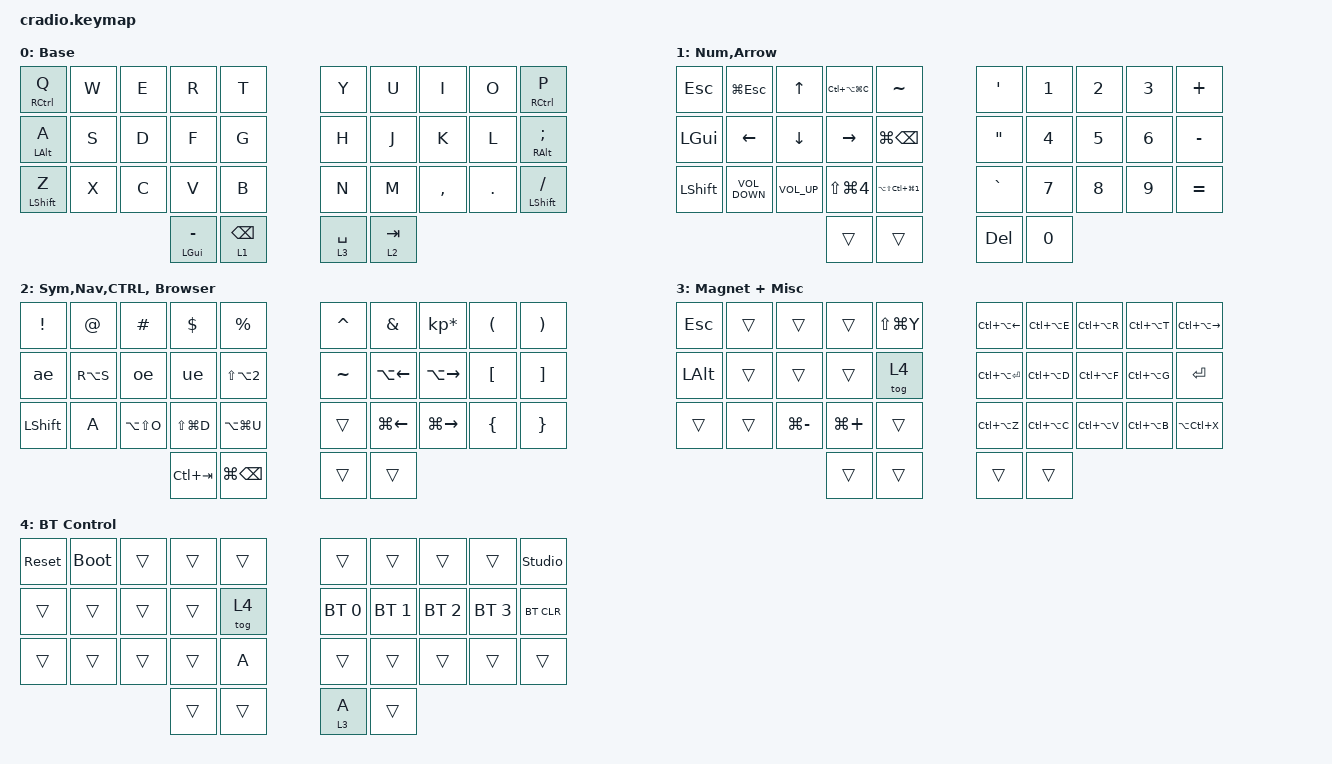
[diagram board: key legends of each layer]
// Copyright (c) 2022 The ZMK Contributors
// SPDX-License-Identifier: MIT

//#define ZMK_POINTING_DEFAULT_MOVE_VAL 1200  // default: 600
//#define ZMK_POINTING_DEFAULT_SCRL_VAL 50    // default: 10

#include <behaviors.dtsi>
#include <dt-bindings/zmk/bt.h>
#include <dt-bindings/zmk/keys.h>

// Home row mods macro
//#define HRML(k1,k2,k3,k4) &ht LSHFT k1  &ht LALT k2  &ht LCTRL k3  &ht LGUI k4
//#define HRMR(k1,k2,k3,k4) &ht RGUI k1  &ht RCTRL k2  &ht RALT k3  &ht RSHFT k4

#define Base 0
#define Num_Arrow 1
#define ym_Nav_CTRL 2
#define Magnet_Arc 3
#define BT_Control 4

&mt {
    tapping-term-ms = <175>;

    // require-prior-idle-ms = <50>;
};

&lt {
    tapping-term-ms = <150>;

    //require-prior-idle-ms = <125>; 
};

/*
&mmv {
    time-to-max-speed-ms = <50>;

    //acceleration-exponent = <4>;
};

&msc {
    time-to-max-speed-ms = <0>;

    //acceleration-exponent = <4>;
};
*/

/ {
    behaviors {
        lslc: lslc {
            compatible = "zmk,behavior-tap-dance";
            label = "LSLC";
            #binding-cells = <0>;
            tapping-term-ms = <200>;
            bindings = <&kp LEFT_SHIFT>, <&kp LCTRL>;
        };

        rsra: rsra {
            compatible = "zmk,behavior-tap-dance";
            label = "RSRA";
            #binding-cells = <0>;
            tapping-term-ms = <200>;
            bindings = <&kp RIGHT_SHIFT>, <&kp RALT>;
        };

        long_MT: long_MT {
            compatible = "zmk,behavior-hold-tap";
            label = "LONG_MT";
            bindings = <&kp>, <&kp>;

            require-prior-idle-ms = <125>;
            #binding-cells = <2>;
            tapping-term-ms = <300>;
            quick-tap-ms = <0>;
            flavor = "tap-preferred";
        };

        short_LT: short_LT {
            compatible = "zmk,behavior-hold-tap";
            label = "SHORT_LT";
            bindings = <&mo>, <&kp>;

            #binding-cells = <2>;
            tapping-term-ms = <85>;
            quick-tap-ms = <0>;

            //flavor = "hold-preferred";
        };
    };

    macros {
        ae: ae {
            compatible = "zmk,behavior-macro";
            label = "AE";
            #binding-cells = <0>;
            bindings = <&kp DOUBLE_QUOTES &kp A>;
        };

        oe: oe {
            compatible = "zmk,behavior-macro";
            label = "OE";
            #binding-cells = <0>;
            bindings = <&kp DOUBLE_QUOTES &kp O>;
        };

        ue: ue {
            compatible = "zmk,behavior-macro";
            label = "UE";
            #binding-cells = <0>;
            bindings = <&kp DOUBLE_QUOTES &kp U>;
        };
    };

    combos {
        compatible = "zmk,combos";

        bt_combo {
            timeout-ms = <150>;
            key-positions = <20 21 22 23>; // Z, X, C, V
            bindings = <&tog BT_Control>;
        };
    };

    keymap {
        compatible = "zmk,keymap";

        default_layer {
            label = "Base";
            bindings = <
&long_MT RIGHT_CONTROL Q  &kp W  &kp E  &kp R               &kp T              &kp Y        &kp U            &kp I      &kp O    &long_MT RCTRL P
&long_MT LEFT_ALT A       &kp S  &kp D  &kp F               &kp G              &kp H        &kp J            &kp K      &kp L    &long_MT RIGHT_ALT SEMICOLON
&mt LEFT_SHIFT Z          &kp X  &kp C  &kp V               &kp B              &kp N        &kp M            &kp COMMA  &kp DOT  &mt LEFT_SHIFT SLASH
                                        &mt LEFT_GUI MINUS  &lt 1 BACKSPACE    &lt 3 SPACE  &short_LT 2 TAB
            >;
        };

        layer_1 {
            label = "Num,Arrow";
            bindings = <
&kp ESCAPE      &kp LG(ESCAPE)     &kp UP_ARROW     &kp LC(LA(LG(C))) /*=Finder*/   &kp TILDE                       &kp SQT            &kp NUMBER_1  &kp NUMBER_2  &kp NUMBER_3  &kp PLUS
&kp LEFT_GUI    &kp LEFT           &kp DOWN         &kp RIGHT             &kp LG(BACKSPACE)               &kp DOUBLE_QUOTES  &kp NUMBER_4  &kp N5        &kp NUMBER_6  &kp MINUS
&kp LEFT_SHIFT  &kp K_VOLUME_DOWN  &kp K_VOLUME_UP  &kp LS(LG(NUMBER_4)) /*=Screenshot*/ &kp LA(LS(LC(LG(NUMBER_1)))) /*=Shottr*/    &kp GRAVE          &kp N7        &kp N8        &kp NUMBER_9  &kp EQUAL
                                                    &trans                &trans                          &kp DEL            &kp NUMBER_0
            >;
        };

        layer_2 {
            label = "Sym,Nav,CTRL, Browser";
            bindings = <
&kp EXCLAMATION  &kp AT_SIGN  &kp HASH           &kp DLLR          &kp PRCNT               &kp CARET  &kp AMPS      &kp KP_MULTIPLY  &kp LPAR  &kp RPAR
&ae              &kp RA(S)    &oe                &ue               &kp LS(LA(NUMBER_2)) /*=€*/   &kp TILDE  &kp LA(LEFT)  &kp LA(RIGHT)    &kp LBKT  &kp RBKT
&kp LSHFT        &kp A        &kp LA(LS(O)) /*=Obs Clipper*/  &kp LS(LG(D)) /*=new split*/  &kp LA(LG(U)) /*=split out*/      &trans     &kp LG(LEFT)  &kp LG(RIGHT)    &kp LBRC  &kp RBRC
                                                 &kp LC(TAB)       &kp LG(BACKSPACE)       &trans     &trans
            >;
        };

        layer_3 {
            label = "Magnet + Misc";
            bindings = <
&kp ESCAPE    &trans  &trans         &trans        &kp LS(LG(Y)) /*=Bitwarden*/    &kp LC(LA(LEFT))    &kp LC(LA(E))  &kp LC(LA(R))  &kp LC(LA(T))  &kp LC(LA(RIGHT))
&kp LEFT_ALT  &trans  &trans         &trans        &tog 4    &kp LC(LA(RETURN))  &kp LC(LA(D))  &kp LC(LA(F))  &kp LC(LA(G))  &kp RETURN
&trans        &trans  &kp LG(MINUS)  &kp LG(PLUS)  &trans    &kp LC(LA(Z))       &kp LC(LA(C))  &kp LC(LA(V))  &kp LC(LA(B))  &kp LA(LC(X))
                                     &trans        &trans    &trans              &trans
            >;
        };

        layer_4 {
            label = "BT Control";
            bindings = <
&sys_reset  &bootloader  &trans  &trans  &trans    &trans        &trans        &trans        &trans        &studio_unlock
&trans      &trans       &trans  &trans  &tog 4    &bt BT_SEL 0  &bt BT_SEL 1  &bt BT_SEL 2  &bt BT_SEL 3  &bt BT_CLR
&trans      &trans       &trans  &trans  &kp A     &trans        &trans        &trans        &trans        &trans
                                 &trans  &trans    &lt 3 A       &trans
            >;
        };
    };
};
